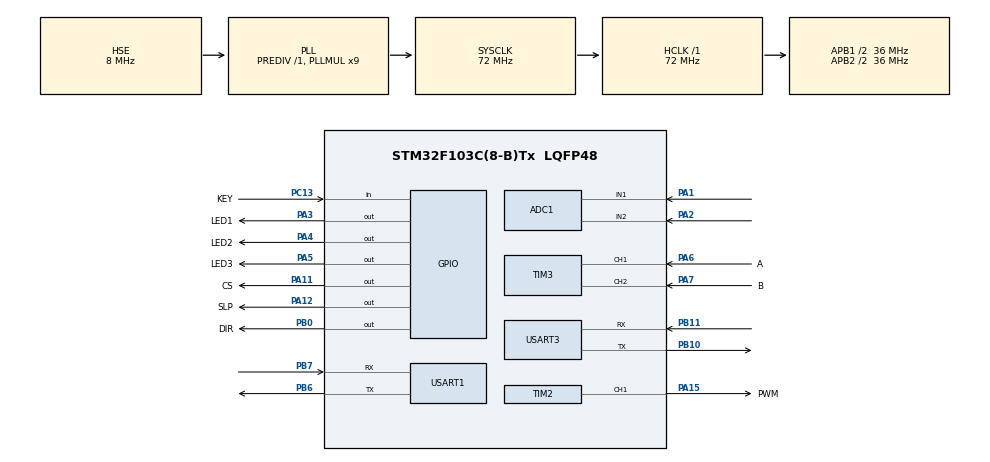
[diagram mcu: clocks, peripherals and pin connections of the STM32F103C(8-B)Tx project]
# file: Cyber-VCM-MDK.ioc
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ADC1.Channel-0\#ChannelRegularConversion=ADC_CHANNEL_1
ADC1.Channel-1\#ChannelRegularConversion=ADC_CHANNEL_2
ADC1.ContinuousConvMode=ENABLE
ADC1.NbrOfConversion=2
ADC1.NbrOfConversionFlag=1
ADC1.Rank-0\#ChannelRegularConversion=1
ADC1.Rank-1\#ChannelRegularConversion=2
ADC1.SamplingTime-0\#ChannelRegularConversion=ADC_SAMPLETIME_28CYCLES_5
ADC1.SamplingTime-1\#ChannelRegularConversion=ADC_SAMPLETIME_55CYCLES_5
ADC1.master=1
Dma.ADC1.0.Direction=DMA_PERIPH_TO_MEMORY
Dma.ADC1.0.Instance=DMA1_Channel1
Dma.ADC1.0.MemDataAlignment=DMA_MDATAALIGN_WORD
Dma.ADC1.0.MemInc=DMA_MINC_ENABLE
Dma.ADC1.0.Mode=DMA_CIRCULAR
Dma.ADC1.0.PeriphDataAlignment=DMA_PDATAALIGN_WORD
Dma.ADC1.0.PeriphInc=DMA_PINC_DISABLE
Dma.ADC1.0.Priority=DMA_PRIORITY_LOW
Dma.Request0=ADC1
FREERTOS.Tasks01=GetDataTask,24,128,StartGetDataTask,Default,NULL,Dynamic,NULL,NULL;ShowDataTask,8,128,StartShowDataTask,Default,NULL,Dynamic,NULL,NULL;ControlMethodTa,8,128,StartControlMethodTask,Default,NULL,Dynamic,NULL,NULL
Mcu.Family=STM32F1
Mcu.Name=STM32F103C(8-B)Tx
Mcu.Package=LQFP48
NVIC.ADC1_2_IRQn=true\:5\:0\:false\:false\:true\:true\:true\:true
NVIC.DMA1_Channel1_IRQn=true\:5\:0\:false\:false\:true\:true\:false\:true
NVIC.PriorityGroup=NVIC_PRIORITYGROUP_4
NVIC.TIM1_UP_IRQn=true\:15\:0\:false\:false\:true\:false\:false\:true
NVIC.TIM4_IRQn=true\:5\:0\:false\:false\:true\:true\:true\:true
NVIC.TimeBase=TIM1_UP_IRQn
NVIC.TimeBaseIP=TIM1
NVIC.USART1_IRQn=true\:5\:0\:false\:false\:true\:true\:true\:true
NVIC.USART3_IRQn=true\:5\:0\:false\:false\:true\:true\:true\:true
PA1.Signal=ADCx_IN1
PA11.GPIO_Label=CS
PA11.Signal=GPIO_Output
PA12.GPIO_Label=SLP
PA12.Signal=GPIO_Output
PA13.Mode=Serial_Wire
PA13.Signal=SYS_JTMS-SWDIO
PA14.Mode=Serial_Wire
PA14.Signal=SYS_JTCK-SWCLK
PA15.GPIO_Label=PWM
PA15.Signal=S_TIM2_CH1_ETR
PA2.Signal=ADCx_IN2
PA3.GPIO_Label=LED1
PA3.Signal=GPIO_Output
PA4.GPIO_Label=LED2
PA4.Signal=GPIO_Output
PA5.GPIO_Label=LED3
PA5.Signal=GPIO_Output
PA6.GPIO_Label=A
PA6.Signal=S_TIM3_CH1
PA7.GPIO_Label=B
PA7.Signal=S_TIM3_CH2
PB0.GPIO_Label=DIR
PB0.Signal=GPIO_Output
PB10.Mode=Asynchronous
PB10.Signal=USART3_TX
PB11.Mode=Asynchronous
PB11.Signal=USART3_RX
PB6.Mode=Asynchronous
PB6.Signal=USART1_TX
PB7.GPIO_PuPd=GPIO_PULLUP
PB7.Mode=Asynchronous
PB7.Signal=USART1_RX
PC13-TAMPER-RTC.GPIO_Label=KEY
PC13-TAMPER-RTC.Signal=GPIO_Input
PD0-OSC_IN.Mode=HSE-External-Oscillator
PD0-OSC_IN.Signal=RCC_OSC_IN
PD1-OSC_OUT.Mode=HSE-External-Oscillator
PD1-OSC_OUT.Signal=RCC_OSC_OUT
ProjectManager.HeapSize=0x200
ProjectManager.StackSize=0x400
ProjectManager.TargetToolchain=MDK-ARM V5.32
RCC.ADCPresc=RCC_ADCPCLK2_DIV6
RCC.AHBFreq_Value=72000000
RCC.APB1CLKDivider=RCC_HCLK_DIV2
RCC.APB1Freq_Value=36000000
RCC.APB1TimFreq_Value=72000000
RCC.APB2CLKDivider=RCC_HCLK_DIV2
RCC.APB2Freq_Value=36000000
RCC.APB2TimFreq_Value=72000000
RCC.HCLKFreq_Value=72000000
RCC.PLLMUL=RCC_PLL_MUL9
RCC.PLLSourceVirtual=RCC_PLLSOURCE_HSE
RCC.SYSCLKFreq_VALUE=72000000
RCC.SYSCLKSource=RCC_SYSCLKSOURCE_PLLCLK
RCC.USBFreq_Value=72000000
SH.ADCx_IN1.0=ADC1_IN1,IN1
SH.ADCx_IN2.0=ADC1_IN2,IN2
SH.S_TIM2_CH1_ETR.0=TIM2_CH1,PWM Generation1 CH1
SH.S_TIM3_CH1.0=TIM3_CH1,Encoder_Interface
SH.S_TIM3_CH2.0=TIM3_CH2,Encoder_Interface
TIM2.Channel-PWM\ Generation1\ CH1=TIM_CHANNEL_1
TIM2.Period=50-1
TIM2.Prescaler=72-1
TIM4.AutoReloadPreload=TIM_AUTORELOAD_PRELOAD_ENABLE
TIM4.Period=199
TIM4.Prescaler=7199
USART1.VirtualMode=VM_ASYNC
USART3.VirtualMode=VM_ASYNC
VP_FREERTOS_VS_CMSIS_V2.Mode=CMSIS_V2
VP_SYS_VS_tim1.Mode=TIM1
VP_TIM2_VS_ClockSourceINT.Mode=Internal
VP_TIM4_VS_ClockSourceINT.Mode=Internal
board=custom

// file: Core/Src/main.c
/* USER CODE BEGIN Header */
/**
  ******************************************************************************
  * @file           : main.c
  * @brief          : Main program body
  ******************************************************************************
  * @attention
  *
  * <h2><center>&copy; Copyright (c) 2021 STMicroelectronics.
  * All rights reserved.</center></h2>
  *
  * This software component is licensed by ST under Ultimate Liberty license
  * SLA0044, the "License"; You may not use this file except in compliance with
  * the License. You may obtain a copy of the License at:
  *                             www.st.com/SLA0044
  *
  ******************************************************************************
  */

/**
 * @brief Cyber-VCM Main Promgram
 * @time 2021.11 Written By Mr. Panghong
 * @note Voice Coil Motor Position Control Item
 */

/* USER CODE END Header */
#include "main.h"
#include "cmsis_os.h"
#include "adc.h"
#include "dma.h"
#include "tim.h"
#include "usart.h"
#include "gpio.h"

/* USER CODE BEGIN Includes */
#include "AM26C32.h"
#include "MotorADC.h"
#include "VCMControl.h"
#include "param.h"
#include "SpeedPID.h"
#include "tof200f_uart.h"
#include "oled.h"
/* USER CODE END Includes */

void SystemClock_Config(void);
void MX_FREERTOS_Init(void);

int main(void)
{
  /* USER CODE BEGIN 1 */
  //unsigned int distance;
  /* USER CODE END 1 */

  /* MCU Configuration--------------------------------------------------------*/

  /* Reset of all peripherals, Initializes the Flash interface and the Systick. */
  HAL_Init();

  /* Configure the system clock */
  SystemClock_Config();

  /* Initialize all configured peripherals */
  MX_GPIO_Init();
  MX_ADC1_Init();
  MX_TIM2_Init();
  MX_TIM3_Init();
  MX_DMA_Init();
  MX_USART1_UART_Init();
  MX_TIM4_Init();
  MX_USART3_UART_Init();
  /* USER CODE BEGIN 2 */
  if(HAL_ADC_Start_IT(&hadc1) != HAL_OK){
	HAL_GPIO_TogglePin(LED1_GPIO_Port, LED1_Pin);
  }
  HAL_TIM_Base_Start_IT(&htim4);
  //DMA模式存在问题
  //MotorADCStartDMA();
  HAL_GPIO_WritePin(CS_GPIO_Port, CS_Pin, GPIO_PIN_SET);
  HAL_GPIO_WritePin(SLP_GPIO_Port, SLP_Pin, GPIO_PIN_SET);
  HAL_TIM_PWM_Start(&htim2, TIM_CHANNEL_1); //start pwm
  VCMGoToOrigin();
  VCMEncoderInit();
  tof200f_init();
  OLED_Init();
  HAL_Delay(50);
  printf("Hello, I am Cyber-VCM\n");
  OLED_Windows_Style1();
  /* USER CODE END 2 */

  /* Init scheduler */
  osKernelInitialize();  /* Call init function for freertos objects (in freertos.c) */
  MX_FREERTOS_Init();
  /* Start scheduler */
  osKernelStart();

  /* We should never get here as control is now taken by the scheduler */
  /* Infinite loop */
  /* USER CODE BEGIN WHILE */
	//tof200f_init();
  while (1)
  {
    /* USER CODE END WHILE */

  }
}

void SystemClock_Config(void)
{
  RCC_OscInitTypeDef RCC_OscInitStruct = {0};
  RCC_ClkInitTypeDef RCC_ClkInitStruct = {0};
  RCC_PeriphCLKInitTypeDef PeriphClkInit = {0};

  /** Initializes the RCC Oscillators according to the specified parameters
  * in the RCC_OscInitTypeDef structure.
  */
  RCC_OscInitStruct.OscillatorType = RCC_OSCILLATORTYPE_HSE;
  RCC_OscInitStruct.HSEState = RCC_HSE_ON;
  RCC_OscInitStruct.HSEPredivValue = RCC_HSE_PREDIV_DIV1;
  RCC_OscInitStruct.HSIState = RCC_HSI_ON;
  RCC_OscInitStruct.PLL.PLLState = RCC_PLL_ON;
  RCC_OscInitStruct.PLL.PLLSource = RCC_PLLSOURCE_HSE;
  RCC_OscInitStruct.PLL.PLLMUL = RCC_PLL_MUL9;
  if (HAL_RCC_OscConfig(&RCC_OscInitStruct) != HAL_OK)
  {
    Error_Handler();
  }
  /** Initializes the CPU, AHB and APB buses clocks
  */
  RCC_ClkInitStruct.ClockType = RCC_CLOCKTYPE_HCLK|RCC_CLOCKTYPE_SYSCLK
                              |RCC_CLOCKTYPE_PCLK1|RCC_CLOCKTYPE_PCLK2;
  RCC_ClkInitStruct.SYSCLKSource = RCC_SYSCLKSOURCE_PLLCLK;
  RCC_ClkInitStruct.AHBCLKDivider = RCC_SYSCLK_DIV1;
  RCC_ClkInitStruct.APB1CLKDivider = RCC_HCLK_DIV2;
  RCC_ClkInitStruct.APB2CLKDivider = RCC_HCLK_DIV2;

  if (HAL_RCC_ClockConfig(&RCC_ClkInitStruct, FLASH_LATENCY_2) != HAL_OK)
  {
    Error_Handler();
  }
  PeriphClkInit.PeriphClockSelection = RCC_PERIPHCLK_ADC;
  PeriphClkInit.AdcClockSelection = RCC_ADCPCLK2_DIV6;
  if (HAL_RCCEx_PeriphCLKConfig(&PeriphClkInit) != HAL_OK)
  {
    Error_Handler();
  }
}

/* USER CODE BEGIN 4 */
extern Main_Data main_data;
extern PWM_Control_Params pwm_control_params;
/* USER CODE END 4 */

void HAL_TIM_PeriodElapsedCallback(TIM_HandleTypeDef *htim)
{
  if (htim->Instance == TIM1) {
    HAL_IncTick();
  }
  /* USER CODE BEGIN Callback 1 */
  //HAL_GPIO_TogglePin(LED2_GPIO_Port, LED2_Pin);
  /*
  if (htim->Instance == TIM4) {
      main_data.Actual_Speed = GetVCMPreSpeed();  //通过定时器中断来获取速度，20毫秒读取一次
	  printf("%d\n", main_data.Actual_Speed);
  }
  */
  /* USER CODE END Callback 1 */
}

void Error_Handler(void)
{
  __disable_irq();
  while (1)
  {
  }
}

/************************ (C) COPYRIGHT STMicroelectronics *****END OF FILE****/

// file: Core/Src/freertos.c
/* USER CODE BEGIN Header */
/**
  ******************************************************************************
  * File Name          : freertos.c
  * Description        : Code for freertos applications
  ******************************************************************************
  * @attention
  *
  * <h2><center>&copy; Copyright (c) 2021 STMicroelectronics.
  * All rights reserved.</center></h2>
  *
  * This software component is licensed by ST under Ultimate Liberty license
  * SLA0044, the "License"; You may not use this file except in compliance with
  * the License. You may obtain a copy of the License at:
  *                             www.st.com/SLA0044
  *
  ******************************************************************************
  */
/* USER CODE END Header */

#include "FreeRTOS.h"
#include "task.h"
#include "main.h"
#include "cmsis_os.h"

/* USER CODE BEGIN Includes */
#include "stdio.h"
#include "SpeedPID.h"
#include "PositionPID.h"
#include "adc.h"
#include "MotorADC.h"
#include "tim.h"
#include "param.h"
#include "VCMControl.h"
#include "stdlib.h"
#include "AM26C32.h"
#include "tof200f_uart.h"
#include "oled.h"
#include "filter.h"
#include "TOF200F.h"
/* USER CODE END Includes */

/* USER CODE BEGIN PM */
float set_speed = 5.0;
float Motor_speed = 0.0;
float error_speed = 0.0;
float error_speed_I = 0.0;
float error_speed_old = 0.0;  //上一次的误差
float error_speed_old2 = 0.0;  //上上次的误差
float pre_position = 0.0;
float set_position = 0.3;

float Actual_Position = 0.0;
float error_position = 0.0;
float error_position_old = 0.0;
float error_position_old2 = 0.0;

/*float Kp_Speed = 20.0;
float Ki_Speed = 0.16;
float Kd_Speed = 0.0;*/

float Kp_Position = 26.0;
float Ki_Position = 5.0;
float Kd_Position = 0.0;

Sensor_Original_Data Sensor_data;

uint16_t distance;
float Filter_distance;

/* USER CODE END PM */

/* USER CODE BEGIN Variables */
extern Main_Data main_data;
extern PWM_Control_Params pwm_control_params;
/* USER CODE END Variables */
/* Definitions for GetDataTask */
osThreadId_t GetDataTaskHandle;
const osThreadAttr_t GetDataTask_attributes = {
  .name = "GetDataTask",
  .stack_size = 128 * 4,
  .priority = (osPriority_t) osPriorityNormal,
};
/* Definitions for ShowDataTask */
osThreadId_t ShowDataTaskHandle;
const osThreadAttr_t ShowDataTask_attributes = {
  .name = "ShowDataTask",
  .stack_size = 128 * 4,
  .priority = (osPriority_t) osPriorityLow,
};
/* Definitions for ControlMethodTa */
osThreadId_t ControlMethodTaHandle;
const osThreadAttr_t ControlMethodTa_attributes = {
  .name = "ControlMethodTa",
  .stack_size = 128 * 4,
  .priority = (osPriority_t) osPriorityLow,
};

void StartGetDataTask(void *argument);
void StartShowDataTask(void *argument);
void StartControlMethodTask(void *argument);

void MX_FREERTOS_Init(void); /* (MISRA C 2004 rule 8.1) */

void MX_FREERTOS_Init(void) {

  /* Create the thread(s) */
  /* creation of GetDataTask */
  GetDataTaskHandle = osThreadNew(StartGetDataTask, NULL, &GetDataTask_attributes);

  /* creation of ShowDataTask */
  ShowDataTaskHandle = osThreadNew(StartShowDataTask, NULL, &ShowDataTask_attributes);

  /* creation of ControlMethodTa */
  ControlMethodTaHandle = osThreadNew(StartControlMethodTask, NULL, &ControlMethodTa_attributes);

}

void StartGetDataTask(void *argument)
{
  /* USER CODE BEGIN StartGetDataTask */
  //char posi_buff[5], spee_buff[5], voil_buff[5], curr_buff[5], tof_buff[5];
  //float ADC_Value[2], fake_voil = 3.31;
  /* Infinite loop */
  for(;;)
  {

	  /*
	  distance = TOF_HEXConvertToEngineerValye();
	  sprintf(spee_buff, "%0.3f", main_data.Actual_Speed);
	  sprintf(posi_buff, "%0.3f", main_data.Actual_Position);
	  sprintf(curr_buff, "%0.3f", main_data.Actual_Current);
	  sprintf(voil_buff, "%0.2f", fake_voil);
	  sprintf(tof_buff, "%0.3f", distance);
	  OLED_ShowString(66, 0, (uint8_t*)voil_buff, 24, 1);
	  OLED_ShowString(20, 28, (uint8_t*)posi_buff, 16, 1);
	  OLED_ShowString(20, 46, (uint8_t*)"          ", 16, 1);
	  OLED_ShowString(20, 46, (uint8_t*)spee_buff, 16, 1);
	  OLED_ShowString(20, 64, (uint8_t*)curr_buff, 16, 1);
	  OLED_ShowString(88, 28, (uint8_t*)tof_buff, 16, 1);
	  if(main_data.Actual_Speed > 0){
		  OLED_ShowString(86, 46, (uint8_t*)"DIR:+", 16, 1);
	  }else if(main_data.Actual_Speed < 0){
		  OLED_ShowString(86, 46, (uint8_t*)"DIR:-", 16, 1);
	  }else{
		  OLED_ShowString(86, 46, (uint8_t*)"DIR: ", 16, 1);
	  }
	  */
	  //Get_ADC_Value(ADC_Value);
	  //sprintf(curr_buff, "%0.3f", ADC_Value[0]);
	  //OLED_ShowString(20, 62, (uint8_t*)curr_buff, 16, 1);
	  //printf("%0.3f, %0.3f\n", main_data.Actual_Position, distance);
	  //OLED_Refresh();
	  //HAL_GPIO_TogglePin(LED1_GPIO_Port, LED1_Pin);
	  printf("%0.3f\n", Filter_distance);
	  osDelay(1);
  }
  /* USER CODE END StartGetDataTask */
}

void StartShowDataTask(void *argument)
{
  /* USER CODE BEGIN StartShowDataTask */
  /* Infinite loop */
  for(;;)
  {
	 Sensor_data.TOF_Counts = tof200f_trans();
	 Filter_distance = TOF_HEXConvertToEngineerValye();
	 main_data.Actual_Speed = GetVCMPreSpeed();
	 main_data.Actual_Position = GetVCMPositon();
	 pre_position = VCMEncoderGetPosition();
	 osDelay(40);
  }
  /* USER CODE END StartShowDataTask */
}

void StartControlMethodTask(void *argument)
{
  /* USER CODE BEGIN StartControlMethodTask */
  pwm_control_params.Duty = 0.0;  //Duty represent the force of VCM
  pwm_control_params.DIR = 1;     //DIR represent the direction of VCM
  /* Infinite loop */

  for(;;)
  {
	  Actual_Position = VCMEncoderGetPosition();
	  error_position = set_position - Actual_Position;

	  //位置环增量式PID
	  pwm_control_params.Duty += Kp_Position * (error_position - error_position_old) + Ki_Position * error_position;

	  //位置更新
	  error_position_old = error_position;

	  // 本次速度给上次速度
	  error_position_old2 = error_position_old;

	  if(error_position > 0){
		  HAL_GPIO_WritePin(DIR_GPIO_Port, DIR_Pin, GPIO_PIN_SET);
	  }

	  if(error_position < 0){
		  HAL_GPIO_WritePin(DIR_GPIO_Port, DIR_Pin, GPIO_PIN_RESET);
	  }

	  //设置占空比
	  __HAL_TIM_SET_COMPARE(&htim2, TIM_CHANNEL_1, abs((int)pwm_control_params.Duty));
	  osDelay(1);
  }
  /* USER CODE END StartControlMethodTask */
}

/************************ (C) COPYRIGHT STMicroelectronics *****END OF FILE****/
